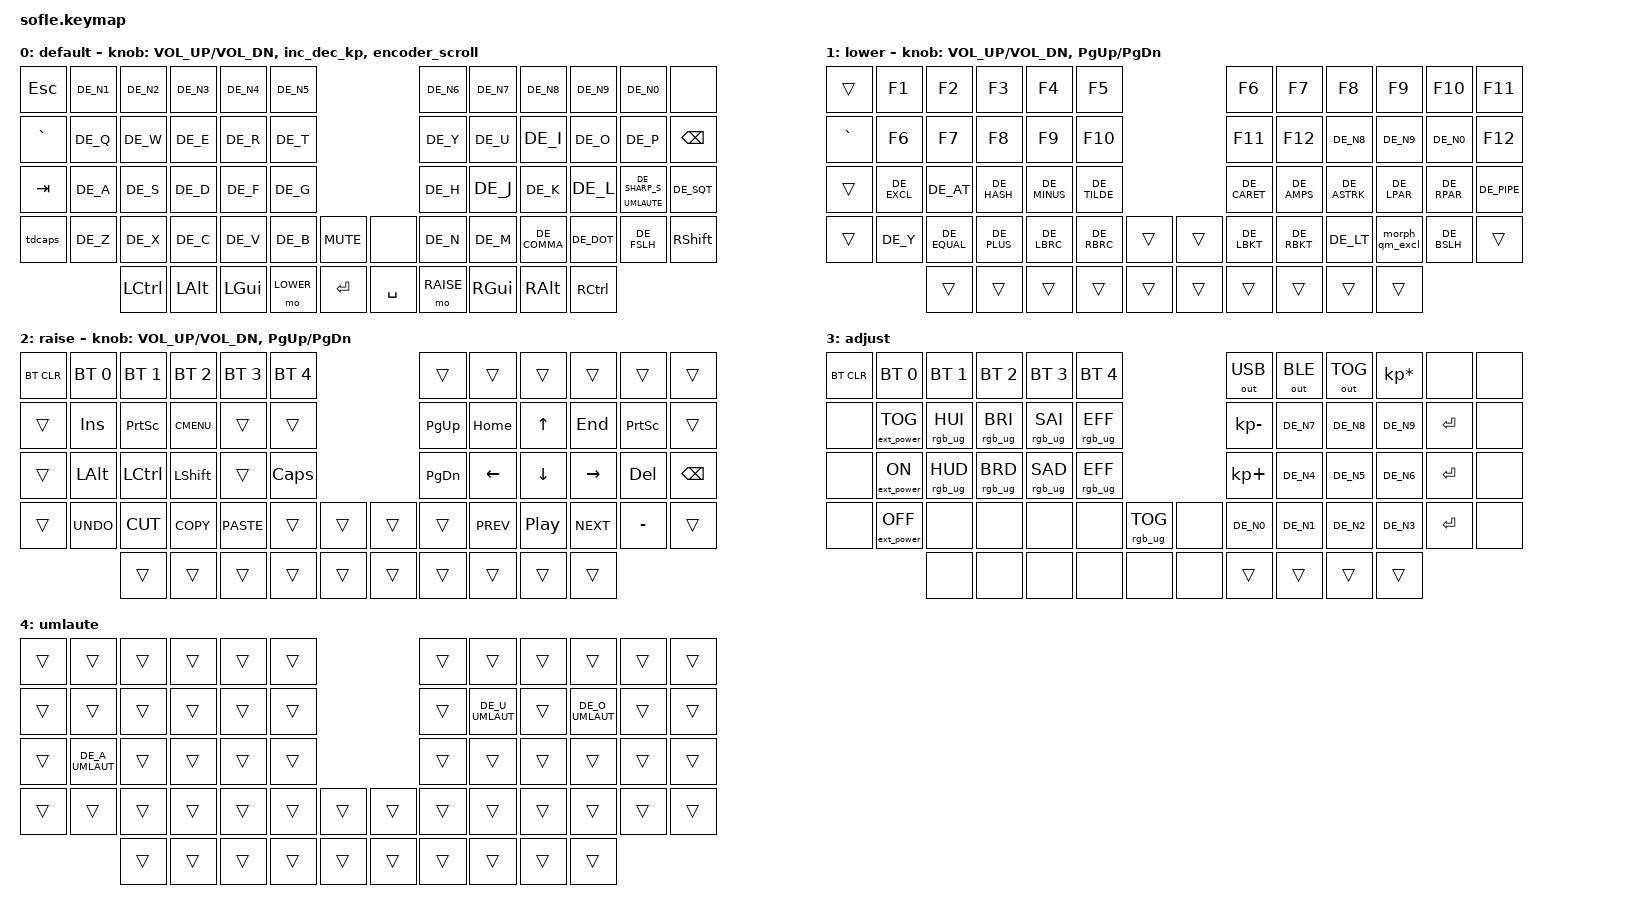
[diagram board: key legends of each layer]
/*
 * Copyright (c) 2020 The ZMK Contributors
 *
 * SPDX-License-Identifier: MIT
 */

#include <behaviors.dtsi>
#include <dt-bindings/zmk/keys.h>
#include <dt-bindings/zmk/bt.h>
#include <dt-bindings/zmk/rgb.h>
#include <dt-bindings/zmk/ext_power.h>
#include <dt-bindings/zmk/outputs.h>
#include "keys_de.h"


#include <dt-bindings/led/led.h>

&pinctrl {
    spi3_default: spi3_default {
        group1 {
            psels = <NRF_PSEL(SPIM_MOSI, 0, 22)>;
        };
    };

    spi3_sleep: spi3_sleep {
        group1 {
            psels = <NRF_PSEL(SPIM_MOSI, 0, 22)>;
            low-power-enable;
        };
    };
};

&spi3 {
    compatible = "nordic,nrf-spim";
    status = "okay";

    pinctrl-0 = <&spi3_default>;
    pinctrl-1 = <&spi3_sleep>;
    pinctrl-names = "default", "sleep";

    led_strip: ws2812@0 {
        compatible = "worldsemi,ws2812-spi";

        /* SPI */
        reg = <0>; /* ignored, but necessary for SPI bindings */
        spi-max-frequency = <4000000>;

        /* WS2812 */
        chain-length = <16>; /* number of LEDs */
        spi-one-frame = <0x70>;
        spi-zero-frame = <0x40>;
        
        color-mapping = <
                LED_COLOR_ID_GREEN
                LED_COLOR_ID_RED
                LED_COLOR_ID_BLUE
        >;
  };
};

/ {
	chosen {
		zmk,underglow = &led_strip;
	};
};
#define BASE 0
#define LOWER 1
#define RAISE 2
#define ADJUST 3
#define UMLAUTE 4

/ {
	chosen {
		zmk,underglow = &led_strip;
	};
};

/ {

   // Activate ADJUST layer by pressing raise and lower
    conditional_layers {
        compatible = "zmk,conditional-layers";
        adjust_layer {
            if-layers = <LOWER RAISE>;
            then-layer = <ADJUST>;
        };
    };

    behaviors {
        tdcaps: tap_dance_shift_caps {
            compatible = "zmk,behavior-tap-dance";
            #binding-cells = <0>;
            tapping-term-ms = <200>;
            bindings = <&kp LSHIFT>, <&kp CAPS>;
        };
        
        tdumlauta: tap_dance_umlaut_a {
            compatible = "zmk,behavior-tap-dance";
            #binding-cells = <0>;
            tapping-term-ms = <300>;
            bindings = <&kp DE_EXCL>, <&kp DE_A_UMLAUT>;
        };

        tdumlautu: tap_dance_umlaut_u {
            compatible = "zmk,behavior-tap-dance";
            #binding-cells = <0>;
            tapping-term-ms = <300>;
            bindings = <&kp DE_N7>, <&kp DE_U_UMLAUT>;
        };
        
        tdumlauto: tap_dance_umlaut_o {
            compatible = "zmk,behavior-tap-dance";
            #binding-cells = <0>;
            tapping-term-ms = <300>;
            bindings = <&kp DE_N9>, <&kp DE_O_UMLAUT>;
        };

        morph_qm_excl: morph_qm_excl {
            compatible = "zmk,behavior-mod-morph";
            #binding-cells = <0>;
            bindings = <&kp DE_QMARK>, <&kp DE_EXCL>;
            mods = <(MOD_LSFT|MOD_RSFT)>;
        };

        encoder_scroll: encoder_scroll {
            compatible = "zmk,behavior-sensor-rotate";
            #sensor-binding-cells = <0>;
            bindings = <&msc SCRL_DOWN>, <&msc SCRL_UP>;
        };
    };

    keymap {
        compatible = "zmk,keymap";

        default_layer {
            display-name = "default";
// ------------------------------------------------------------------------------------------------------------
// |  ESC  |  1! |  2" |  3§  |  4$  |  5%  |                   |  6&  |  7/   |  8(   |  9)  |   0=  |       |
// |  ^°   |  Q  |  W  |  E   |  R   |  T   |                   |  Y   |  U    |  I    |  O   |   P   | BKSPC |
// |  TAB  |  A  |  S  |  D   |  F   |  G   |                   |  H   |  J    |  K    |  L   |   ß?  |   ''  |
// | SHIFT |  Z  |  X  |  C   |  V   |  B   |  MUTE  |  |       |  N   |  M    |  ,;   |  .:  |   //  | SHIFT |
//               | GUI | ALT  | CTRL | LOWER|  ENTER |  | SPACE | RAISE| CTRL  | ALT   | GUI  |
            bindings = <
&kp ESC         &kp DE_N1       &kp DE_N2           &kp DE_N3       &kp DE_N4       &kp DE_N5                               &kp DE_N6   &kp DE_N7       &kp DE_N8       &kp DE_N9     &kp DE_N0                 &none
&kp GRAVE       &kp DE_Q        &kp DE_W            &kp DE_E        &kp DE_R        &kp DE_T                                &kp DE_Y    &kp DE_U        &kp DE_I        &kp DE_O      &kp DE_P                  &kp BSPC
&kp TAB         &kp DE_A        &kp DE_S            &kp DE_D        &kp DE_F        &kp DE_G                                &kp DE_H    &kp DE_J        &kp DE_K        &kp DE_L      &lt UMLAUTE DE_SHARP_S    &kp DE_SQT
&tdcaps         &kp DE_Z        &kp DE_X            &kp DE_C        &kp DE_V        &kp DE_B        &kp C_MUTE  &none       &kp DE_N    &kp DE_M        &kp DE_COMMA    &kp DE_DOT    &kp DE_FSLH               &kp RSHFT
// WINDOWS:                     &kp LGUI            &kp LALT        &kp LCTRL       &mo LOWER       &kp RET     &kp SPACE   &mo RAISE   &kp RCTRL       &kp RALT        &kp RGUI
                                &kp LCTRL           &kp LALT        &kp LGUI        &mo LOWER       &kp RET     &kp SPACE   &mo RAISE   &kp RGUI        &kp RALT        &kp RCTRL
            >;

            sensor-bindings = <&inc_dec_kp C_VOL_UP C_VOL_DN &inc_dec_kp &encoder_scroll>;
        };

        lower_layer {
            display-name = "lower";
// ------------------------------------------------------------------------------------------------------------
// |       |  F1 |  F2 |  F3  |  F4  |  F5  |                   |  F6  |  F7   |  F8   |  F9  |  F10  |  F11  |
// |       |  F6 |  F7 |  F8  |  F9  |  F10 |                   |  F11 |  F12  |  8(   |  9)  |   0=  |  F12  |
// |       |  !  |  @  |  #'  |  -_  |  ~   |                   |  ^   |  &    |  *    |  ((  |   ))  |   |   |
// |       |  y  |  == |  +*  |  {   |  }   |        |  |       |  [   |  ]    |  <>   |  ?!  |   \ẞ  |       |
//               |     |      |      |      |        |  |       |      |       |       |      |
            bindings = <
&trans          &kp F1          &kp F2          &kp F3          &kp F4          &kp F5                       &kp F6       &kp F7      &kp F8       &kp F9           &kp F10      &kp F11
&kp GRAVE       &kp F6          &kp F7          &kp F8          &kp F9          &kp F10                      &kp F11      &kp F12     &kp DE_N8    &kp DE_N9        &kp DE_N0    &kp F12
&trans          &kp DE_EXCL     &kp DE_AT       &kp DE_HASH     &kp DE_MINUS    &kp DE_TILDE                 &kp DE_CARET &kp DE_AMPS &kp DE_ASTRK &kp DE_LPAR      &kp DE_RPAR  &kp DE_PIPE
&trans          &kp DE_Y        &kp DE_EQUAL    &kp DE_PLUS     &kp DE_LBRC     &kp DE_RBRC   &trans &trans  &kp DE_LBKT  &kp DE_RBKT &kp DE_LT    &morph_qm_excl   &kp DE_BSLH  &trans
                                &trans          &trans          &trans          &trans        &trans &trans  &trans       &trans      &trans       &trans
            >;

            sensor-bindings = <&inc_dec_kp C_VOL_UP C_VOL_DN &inc_dec_kp PG_UP PG_DN>;
        };

        raise_layer {
            display-name = "raise";
// ------------------------------------------------------------------------------------------------------------
// | BTCLR | BT1  | BT2  |  BT3  |  BT4  |  BT5 |                |      |      |       |      |       |       |
// |       | INS  | PSCR | GUI   |       |      |                | PGUP | HOME |   ^   | END  |  PRSV |       |
// |       | ALT  | CTRL | SHIFT |       | CAPS |                | PGDN |   <- |   v   |  ->  |  DEL  | BKSPC |
// |       | UNDO | CUT  | COPY  | PASTE |      |      |  |      |      | PRVS | PLAY  | NEXT |  ß?   |       |
//                |      |       |       |      |      |  |      |      |      |       |      |
            bindings = <
&bt BT_CLR      &bt BT_SEL 0    &bt BT_SEL 1    &bt BT_SEL 2    &bt BT_SEL 3    &bt BT_SEL 4                  &trans    &trans           &trans          &trans         &trans      &trans
&trans          &kp INS         &kp PSCRN       &kp K_CMENU     &trans          &trans                        &kp PG_UP &kp HOME         &kp UP          &kp END        &kp PSCRN   &trans
&trans          &kp LALT        &kp LCTRL       &kp LSHFT       &trans          &kp CLCK                      &kp PG_DN &kp LEFT         &kp DOWN        &kp RIGHT      &kp DEL     &kp BSPC
&trans          &kp K_UNDO      &kp K_CUT       &kp K_COPY      &kp K_PASTE     &trans        &trans  &trans  &trans    &kp C_PREV       &kp C_PP        &kp C_NEXT     &kp MINUS   &trans
                                &trans          &trans          &trans          &trans        &trans  &trans  &trans    &trans    &trans   &trans
            >;

            sensor-bindings = <&inc_dec_kp C_VOL_UP C_VOL_DN &inc_dec_kp PG_UP PG_DN>;
        };

        adjust_layer {
// ----------------------------------------------------------------------------------------------------------------------------
// | BTCLR  |  BT1    |  BT2    |   BT3   |   BT4   |   BT5   |                  | USB  | BLE  | TOG   | *    |       |       |
// | EXTPWR | RGB_HUD | RGB_HUI | RGB_SAD | RGB_SAI | RGB_EFF |                  | -    | 7    | 8     | 9    | RET   |       |
// |        | RGB_BRD | RGB_BRI |         |         |         |                  | +    | 4    | 5     | 6    | RET   |       |
// |        |         |         |         |         |         | RGB_TOG | |      | 0    | 1    | 2     | 3    | RET   |       |
//                    |         |         |         |         |         | |      |      |      |       |      |
            display-name = "adjust";
            bindings = <
&bt BT_CLR        &bt BT_SEL 0      &bt BT_SEL 1    &bt BT_SEL 2    &bt BT_SEL 3    &bt BT_SEL 4                            &out OUT_USB  &out OUT_BLE    &out OUT_TOG  &kp KP_MULTIPLY &none        &none
&none             &ext_power EP_TOG &rgb_ug RGB_HUI &rgb_ug RGB_BRI &rgb_ug RGB_SAI &rgb_ug RGB_EFF                         &kp KP_MINUS  &kp DE_N7       &kp DE_N8     &kp DE_N9       &kp RET      &none
&none             &ext_power EP_ON  &rgb_ug RGB_HUD &rgb_ug RGB_BRD &rgb_ug RGB_SAD &rgb_ug RGB_EFF                         &kp KP_PLUS   &kp DE_N4       &kp DE_N5     &kp DE_N6       &kp RET      &none
&none             &ext_power EP_OFF &none           &none           &none           &none            &rgb_ug RGB_TOG &none  &kp DE_N0     &kp DE_N1       &kp DE_N2     &kp DE_N3       &kp RET      &none
                                    &none           &none           &none           &none            &none           &none  &trans        &trans          &trans        &trans
            >;
        };

        umlaute {
// ----------------------------------------------------------------------------------------------------------------------------
// |        |        |        |        |        |        |                  |      |  üÜ  |       |  öÖ  |       |       |
// |        |        |        |        |        |        |                  |      |      |       |      |       |       |
// |        |   äÄ   |        |        |        |        |                  |      |      |       |      |       |       |
// |        |        |        |        |        |        |        | |       |      |      |       |      |       |       |
//                   |        |        |        |        |        | |       |      |      |       |      |
            display-name = "umlaute";
            bindings = <
&trans      &trans          &trans      &trans      &trans      &trans                              &trans      &trans              &trans      &trans              &trans      &trans
&trans      &trans          &trans      &trans      &trans      &trans                              &trans      &kp DE_U_UMLAUT     &trans      &kp DE_O_UMLAUT     &trans      &trans
&trans      &kp DE_A_UMLAUT &trans      &trans      &trans      &trans                              &trans      &trans              &trans      &trans              &trans      &trans
&trans      &trans          &trans      &trans      &trans      &trans      &trans      &trans      &trans      &trans              &trans      &trans              &trans      &trans
                            &trans      &trans      &trans      &trans      &trans      &trans      &trans      &trans              &trans      &trans
            >;
        };

    };
};
